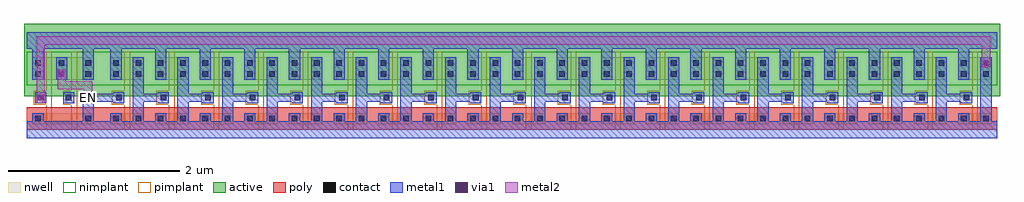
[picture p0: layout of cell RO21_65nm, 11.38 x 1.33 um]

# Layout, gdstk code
import gdstk
lib = gdstk.Library(unit=1e-6, precision=1e-09)
def R(c, l, rs):  # rectangles x0, y0, x1, y1
    for r in rs: c.add(gdstk.rectangle(r[:2], r[2:], *l))
def A(c, l, x, y, w, h, nx, ny, dx, dy):  # array of equal rectangles
    R(c, l, [(x+i*dx, y+j*dy, x+i*dx+w, y+j*dy+h) for i in range(nx) for j in range(ny)])
active = (1, 0)
nwell = (2, 0)
poly = (3, 0)
nimplant = (4, 0)
pimplant = (5, 0)
contact = (6, 0)
metal1 = (7, 0)
via1 = (8, 0)
metal2 = (9, 0)

ro21_65nm = lib.new_cell('RO21_65nm')
A(ro21_65nm, active, 1.917, 0.488, 0.585, 0.844, 4, 1, 0.52, 0)
A(ro21_65nm, active, 7.637, 0.488, 0.586, 0.844, 3, 1, 1.56, 0)
R(ro21_65nm, active, [(-0.033,0.488,0.942,1.332), (0.878,0.488,1.463,1.332), (1.397,0.488,1.983,1.332), (3.997,0.488,4.583,1.332), (4.518,0.488,5.102,1.332), (5.038,0.488,5.623,1.332), (5.557,0.488,6.142,1.332), (6.078,0.488,6.663,1.332), (6.597,0.488,7.182,1.332), (7.118,0.488,7.703,1.332), (8.158,0.488,8.742,1.332), (8.678,0.488,9.263,1.332), (9.718,0.488,10.302,1.332), (10.238,0.488,10.822,1.332)])
A(ro21_65nm, nwell, 0.975, 0.163, 0.39, 0.129, 20, 1, 0.52, 0)
A(ro21_65nm, nwell, 0.975, 0.682, 0.39, 0.26, 20, 1, 0.52, 0)
R(ro21_65nm, nwell, [(0.065,0.163,0.78,0.292), (0.065,0.682,0.78,0.942)])
A(ro21_65nm, poly, 0.91, 0.097, 0.52, 0.261, 20, 1, 0.52, 0)
R(ro21_65nm, poly, [(0,0.097,0.91,0.358)])
A(ro21_65nm, nimplant, 0.91, 0.618, 0.52, 0.39, 20, 1, 0.52, 0)
R(ro21_65nm, nimplant, [(0,0.618,0.91,1.008)])
A(ro21_65nm, pimplant, 2.178, 0.097, 0.065, 0.911, 4, 1, 0.52, 0)
A(ro21_65nm, pimplant, 4.258, 0.097, 0.064, 0.911, 5, 1, 1.04, 0)
A(ro21_65nm, pimplant, 6.857, 0.097, 0.065, 0.911, 3, 1, 1.04, 0)
A(ro21_65nm, pimplant, 0.991, 0.39, 0.163, 0.162, 20, 1, 0.52, 0)
R(ro21_65nm, pimplant, [(0.227,0.097,0.292,1.008), (0.52,0.097,0.585,1.008), (1.137,0.097,1.203,1.008), (1.657,0.097,1.723,1.008), (4.777,0.097,4.843,1.008), (5.817,0.097,5.883,1.008), (9.457,0.097,9.523,1.008), (9.978,0.097,10.043,1.008), (10.498,0.097,10.562,1.008), (11.017,0.097,11.082,1.008), (0.081,0.39,0.244,0.552), (0.422,0.39,0.585,0.552)])
A(ro21_65nm, contact, 1.528, 0.195, 0.064, 0.065, 3, 2, 1.3, 0.52)
A(ro21_65nm, contact, 2.047, 0.195, 0.066, 0.065, 4, 2, 0.52, 0.52)
A(ro21_65nm, contact, 4.907, 0.195, 0.066, 0.065, 3, 2, 0.78, 0.52)
A(ro21_65nm, contact, 5.168, 0.195, 0.064, 0.065, 3, 2, 1.04, 0.52)
A(ro21_65nm, contact, 7.507, 0.195, 0.066, 0.065, 5, 2, 0.26, 0.52)
A(ro21_65nm, contact, 10.107, 0.195, 0.066, 0.065, 3, 2, 0.26, 0.52)
A(ro21_65nm, contact, 1.04, 0.439, 0.065, 0.065, 20, 1, 0.52, 0)
A(ro21_65nm, contact, 1.528, 0.845, 0.064, 0.065, 3, 1, 1.3, 0)
A(ro21_65nm, contact, 2.047, 0.845, 0.066, 0.065, 4, 1, 0.52, 0)
A(ro21_65nm, contact, 4.907, 0.845, 0.066, 0.065, 3, 1, 0.78, 0)
A(ro21_65nm, contact, 5.168, 0.845, 0.064, 0.065, 3, 1, 1.04, 0)
A(ro21_65nm, contact, 7.507, 0.845, 0.066, 0.065, 5, 1, 0.26, 0)
A(ro21_65nm, contact, 10.107, 0.845, 0.066, 0.065, 3, 1, 0.26, 0)
R(ro21_65nm, contact, [(0.097,0.195,0.163,0.26), (0.682,0.195,0.748,0.26), (1.008,0.195,1.073,0.26), (1.268,0.195,1.332,0.26), (1.787,0.195,1.852,0.26), (2.308,0.195,2.373,0.26), (3.347,0.195,3.412,0.26), (3.867,0.195,3.932,0.26), (4.388,0.195,4.453,0.26), (4.647,0.195,4.713,0.26), (5.428,0.195,5.493,0.26), (5.947,0.195,6.012,0.26), (6.727,0.195,6.793,0.26), (6.987,0.195,7.052,0.26), (8.808,0.195,8.873,0.26), (9.068,0.195,9.133,0.26), (9.328,0.195,9.392,0.26), (9.588,0.195,9.652,0.26), (9.847,0.195,9.912,0.26), (10.888,0.195,10.953,0.26), (11.148,0.195,11.212,0.26), (0.13,0.439,0.195,0.504), (0.455,0.439,0.52,0.504), (0.097,0.715,0.163,0.78), (0.374,0.715,0.439,0.78), (0.682,0.715,0.748,0.78), (1.008,0.715,1.073,0.78), (1.268,0.715,1.332,0.78), (1.787,0.715,1.852,0.78), (2.308,0.715,2.373,0.78), (3.347,0.715,3.412,0.78), (3.867,0.715,3.932,0.78), (4.388,0.715,4.453,0.78), (4.647,0.715,4.713,0.78), (5.428,0.715,5.493,0.78), (5.947,0.715,6.012,0.78), (6.727,0.715,6.793,0.78), (6.987,0.715,7.052,0.78), (8.808,0.715,8.873,0.78), (9.068,0.715,9.133,0.78), (9.328,0.715,9.392,0.78), (9.588,0.715,9.652,0.78), (9.847,0.715,9.912,0.78), (10.888,0.715,10.953,0.78), (11.148,0.715,11.212,0.78), (0.097,0.845,0.163,0.91), (0.374,0.845,0.439,0.91), (0.682,0.845,0.748,0.91), (1.008,0.845,1.073,0.91), (1.268,0.845,1.332,0.91), (1.787,0.845,1.852,0.91), (2.308,0.845,2.373,0.91), (3.347,0.845,3.412,0.91), (3.867,0.845,3.932,0.91), (4.388,0.845,4.453,0.91), (4.647,0.845,4.713,0.91), (5.428,0.845,5.493,0.91), (5.947,0.845,6.012,0.91), (6.727,0.845,6.793,0.91), (6.987,0.845,7.052,0.91), (8.808,0.845,8.873,0.91), (9.068,0.845,9.133,0.91), (9.328,0.845,9.392,0.91), (9.588,0.845,9.652,0.91), (9.847,0.845,9.912,0.91), (10.888,0.845,10.953,0.91), (11.148,0.845,11.212,0.91)])
A(ro21_65nm, metal1, 0.91, 0, 0.52, 0.195, 20, 2, 0.52, 1.04)
A(ro21_65nm, metal1, 0.975, 0, 0.13, 0.292, 20, 1, 0.52, 0)
A(ro21_65nm, metal1, 1.235, 0.163, 0.13, 0.779, 20, 1, 0.52, 0)
A(ro21_65nm, metal1, 2.047, 0.406, 0.131, 0.13, 4, 1, 0.52, 0)
A(ro21_65nm, metal1, 1.885, 0.422, 0.162, 0.098, 4, 1, 0.52, 0)
A(ro21_65nm, metal1, 3.965, 0.422, 0.163, 0.098, 4, 1, 1.04, 0)
A(ro21_65nm, metal1, 4.485, 0.422, 0.162, 0.098, 4, 1, 1.04, 0)
A(ro21_65nm, metal1, 0.975, 0.682, 0.13, 0.553, 20, 1, 0.52, 0)
R(ro21_65nm, metal1, [(0,0,0.91,0.195), (0.065,0,0.195,0.292), (0.65,0.163,0.78,0.52), (0.097,0.406,0.227,0.536), (0.422,0.406,0.552,0.536), (1.008,0.406,1.137,0.536), (1.528,0.406,1.657,0.536), (4.128,0.406,4.258,0.536), (4.647,0.406,4.777,0.536), (5.168,0.406,5.298,0.536), (5.687,0.406,5.817,0.536), (6.208,0.406,6.338,0.536), (6.727,0.406,6.857,0.536), (7.248,0.406,7.378,0.536), (7.767,0.406,7.897,0.536), (8.287,0.406,8.418,0.536), (8.808,0.406,8.937,0.536), (9.328,0.406,9.457,0.536), (9.847,0.406,9.978,0.536), (10.367,0.406,10.498,0.536), (10.888,0.406,11.017,0.536), (0.78,0.422,1.008,0.52), (1.365,0.422,1.528,0.52), (8.125,0.422,8.287,0.52), (8.645,0.422,8.808,0.52), (9.165,0.422,9.328,0.52), (9.685,0.422,9.847,0.52), (10.205,0.422,10.367,0.52), (10.725,0.422,10.888,0.52), (0.065,0.682,0.195,1.235), (0.341,0.682,0.471,0.942), (0.65,0.682,0.78,1.235), (0,1.04,0.91,1.235)])
R(ro21_65nm, via1, [(0.682,0.422,0.748,0.488), (0.13,0.439,0.195,0.504), (0.374,0.715,0.439,0.78), (11.148,0.845,11.212,0.91)])
R(ro21_65nm, metal2, [(0.114,0.406,0.211,1.186), (0.666,0.406,0.764,0.666), (0.358,0.569,0.764,0.666), (0.358,0.569,0.455,0.796), (11.131,0.829,11.229,1.186), (0.114,1.089,11.229,1.186)])
ro21_65nm.add(gdstk.Label('EN', (0.715,0.471), layer=7, texttype=0))

lib.write_gds('RO21_65nm.gds')
